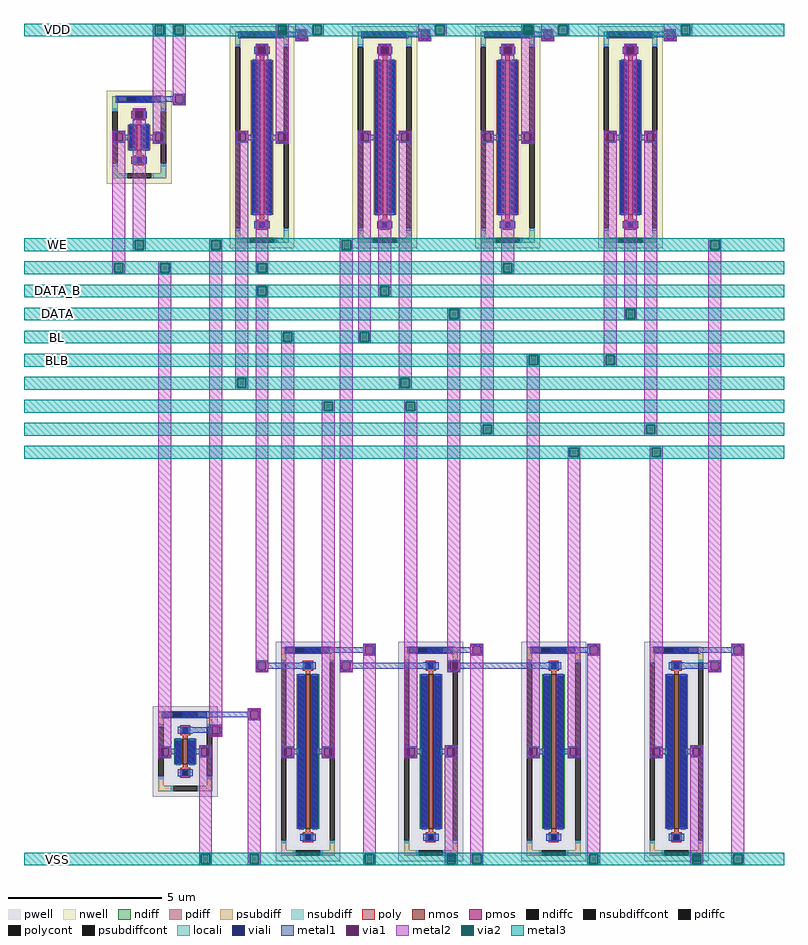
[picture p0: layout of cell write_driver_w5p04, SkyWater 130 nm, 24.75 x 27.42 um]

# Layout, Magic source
magic
tech sky130A
magscale 1 2
<< metal1 >>
rect 1324 -304 1396 -294
rect 1324 -312 1334 -304
rect 1080 -348 1334 -312
rect 1324 -356 1334 -348
rect 1386 -356 1396 -304
rect 2124 -304 2196 -294
rect 2124 -312 2134 -304
rect 1880 -348 2134 -312
rect 1324 -366 1396 -356
rect 2124 -356 2134 -348
rect 2186 -356 2196 -304
rect 2924 -304 2996 -294
rect 2924 -312 2934 -304
rect 2680 -348 2934 -312
rect 2124 -366 2196 -356
rect 2924 -356 2934 -348
rect 2986 -356 2996 -304
rect 3724 -304 3796 -294
rect 3724 -312 3734 -304
rect 3480 -348 3734 -312
rect 2924 -366 2996 -356
rect 3724 -356 3734 -348
rect 3786 -356 3796 -304
rect 3724 -366 3796 -356
rect 1064 -406 1136 -396
rect 1064 -458 1074 -406
rect 1126 -458 1136 -406
rect 1064 -468 1136 -458
rect 1864 -406 1936 -396
rect 1864 -458 1874 -406
rect 1926 -458 1936 -406
rect 1864 -468 1936 -458
rect 2664 -406 2736 -396
rect 2664 -458 2674 -406
rect 2726 -458 2736 -406
rect 2664 -468 2736 -458
rect 3464 -406 3536 -396
rect 3464 -458 3474 -406
rect 3526 -458 3536 -406
rect 3464 -468 3536 -458
rect 524 -724 596 -714
rect 524 -732 534 -724
rect 280 -768 534 -732
rect 524 -776 534 -768
rect 586 -776 596 -724
rect 524 -786 596 -776
rect 264 -826 336 -816
rect 264 -878 274 -826
rect 326 -878 336 -826
rect 264 -888 336 -878
rect 132 -974 204 -964
rect 132 -1026 142 -974
rect 194 -982 204 -974
rect 233 -982 279 -916
rect 194 -1018 279 -982
rect 194 -1026 204 -1018
rect 132 -1036 204 -1026
rect 233 -1084 279 -1018
rect 321 -982 367 -916
rect 396 -974 468 -964
rect 396 -982 406 -974
rect 321 -1018 406 -982
rect 321 -1084 367 -1018
rect 396 -1026 406 -1018
rect 458 -1026 468 -974
rect 396 -1036 468 -1026
rect 932 -974 1004 -964
rect 932 -1026 942 -974
rect 994 -982 1004 -974
rect 1033 -982 1079 -496
rect 994 -1018 1079 -982
rect 994 -1026 1004 -1018
rect 932 -1036 1004 -1026
rect 1033 -1504 1079 -1018
rect 1121 -982 1167 -496
rect 1196 -974 1268 -964
rect 1196 -982 1206 -974
rect 1121 -1018 1206 -982
rect 1121 -1504 1167 -1018
rect 1196 -1026 1206 -1018
rect 1258 -1026 1268 -974
rect 1196 -1036 1268 -1026
rect 1732 -974 1804 -964
rect 1732 -1026 1742 -974
rect 1794 -982 1804 -974
rect 1833 -982 1879 -496
rect 1794 -1018 1879 -982
rect 1794 -1026 1804 -1018
rect 1732 -1036 1804 -1026
rect 1833 -1504 1879 -1018
rect 1921 -982 1967 -496
rect 1996 -974 2068 -964
rect 1996 -982 2006 -974
rect 1921 -1018 2006 -982
rect 1921 -1504 1967 -1018
rect 1996 -1026 2006 -1018
rect 2058 -1026 2068 -974
rect 1996 -1036 2068 -1026
rect 2532 -974 2604 -964
rect 2532 -1026 2542 -974
rect 2594 -982 2604 -974
rect 2633 -982 2679 -496
rect 2594 -1018 2679 -982
rect 2594 -1026 2604 -1018
rect 2532 -1036 2604 -1026
rect 2633 -1504 2679 -1018
rect 2721 -982 2767 -496
rect 2796 -974 2868 -964
rect 2796 -982 2806 -974
rect 2721 -1018 2806 -982
rect 2721 -1504 2767 -1018
rect 2796 -1026 2806 -1018
rect 2858 -1026 2868 -974
rect 2796 -1036 2868 -1026
rect 3332 -974 3404 -964
rect 3332 -1026 3342 -974
rect 3394 -982 3404 -974
rect 3433 -982 3479 -496
rect 3394 -1018 3479 -982
rect 3394 -1026 3404 -1018
rect 3332 -1036 3404 -1026
rect 3433 -1504 3479 -1018
rect 3521 -982 3567 -496
rect 3596 -974 3668 -964
rect 3596 -982 3606 -974
rect 3521 -1018 3606 -982
rect 3521 -1504 3567 -1018
rect 3596 -1026 3606 -1018
rect 3658 -1026 3668 -974
rect 3596 -1036 3668 -1026
rect 1764 -4313 1836 -4303
rect 1764 -4321 1774 -4313
rect 1380 -4357 1774 -4321
rect 1764 -4365 1774 -4357
rect 1826 -4365 1836 -4313
rect 2464 -4313 2536 -4303
rect 2464 -4321 2474 -4313
rect 2180 -4357 2474 -4321
rect 1764 -4375 1836 -4365
rect 2464 -4365 2474 -4357
rect 2526 -4365 2536 -4313
rect 3224 -4313 3296 -4303
rect 3224 -4321 3234 -4313
rect 2980 -4357 3234 -4321
rect 2464 -4375 2536 -4365
rect 3224 -4365 3234 -4357
rect 3286 -4365 3296 -4313
rect 4164 -4313 4236 -4303
rect 4164 -4321 4174 -4313
rect 3780 -4357 4174 -4321
rect 3224 -4375 3296 -4365
rect 4164 -4365 4174 -4357
rect 4226 -4365 4236 -4313
rect 4164 -4375 4236 -4365
rect 1064 -4415 1136 -4405
rect 1064 -4467 1074 -4415
rect 1126 -4423 1136 -4415
rect 1614 -4415 1686 -4405
rect 1126 -4459 1420 -4423
rect 1126 -4467 1136 -4459
rect 1064 -4477 1136 -4467
rect 1614 -4467 1624 -4415
rect 1676 -4423 1686 -4415
rect 2314 -4415 2386 -4405
rect 1676 -4459 2220 -4423
rect 1676 -4467 1686 -4459
rect 1614 -4477 1686 -4467
rect 2314 -4467 2324 -4415
rect 2376 -4423 2386 -4415
rect 4014 -4415 4086 -4405
rect 4014 -4423 4024 -4415
rect 2376 -4459 3020 -4423
rect 3780 -4459 4024 -4423
rect 2376 -4467 2386 -4459
rect 2314 -4477 2386 -4467
rect 4014 -4467 4024 -4459
rect 4076 -4467 4086 -4415
rect 4014 -4477 4086 -4467
rect 1014 -4733 1086 -4723
rect 1014 -4741 1024 -4733
rect 580 -4777 1024 -4741
rect 1014 -4785 1024 -4777
rect 1076 -4785 1086 -4733
rect 1014 -4795 1086 -4785
rect 764 -4835 836 -4825
rect 764 -4843 774 -4835
rect 580 -4879 774 -4843
rect 764 -4887 774 -4879
rect 826 -4887 836 -4835
rect 764 -4897 836 -4887
rect 432 -4974 504 -4964
rect 432 -5026 442 -4974
rect 494 -4982 504 -4974
rect 533 -4982 579 -4916
rect 494 -5018 579 -4982
rect 494 -5026 504 -5018
rect 432 -5036 504 -5026
rect 533 -5084 579 -5018
rect 621 -4982 667 -4916
rect 696 -4974 768 -4964
rect 696 -4982 706 -4974
rect 621 -5018 706 -4982
rect 621 -5084 667 -5018
rect 696 -5026 706 -5018
rect 758 -5026 768 -4974
rect 696 -5036 768 -5026
rect 1232 -4974 1304 -4964
rect 1232 -5026 1242 -4974
rect 1294 -4982 1304 -4974
rect 1333 -4982 1379 -4496
rect 1294 -5018 1379 -4982
rect 1294 -5026 1304 -5018
rect 1232 -5036 1304 -5026
rect 1333 -5504 1379 -5018
rect 1421 -4982 1467 -4496
rect 1496 -4974 1568 -4964
rect 1496 -4982 1506 -4974
rect 1421 -5018 1506 -4982
rect 1421 -5504 1467 -5018
rect 1496 -5026 1506 -5018
rect 1558 -5026 1568 -4974
rect 1496 -5036 1568 -5026
rect 2032 -4974 2104 -4964
rect 2032 -5026 2042 -4974
rect 2094 -4982 2104 -4974
rect 2133 -4982 2179 -4496
rect 2094 -5018 2179 -4982
rect 2094 -5026 2104 -5018
rect 2032 -5036 2104 -5026
rect 2133 -5504 2179 -5018
rect 2221 -4982 2267 -4496
rect 2296 -4974 2368 -4964
rect 2296 -4982 2306 -4974
rect 2221 -5018 2306 -4982
rect 2221 -5504 2267 -5018
rect 2296 -5026 2306 -5018
rect 2358 -5026 2368 -4974
rect 2296 -5036 2368 -5026
rect 2832 -4974 2904 -4964
rect 2832 -5026 2842 -4974
rect 2894 -4982 2904 -4974
rect 2933 -4982 2979 -4496
rect 2894 -5018 2979 -4982
rect 2894 -5026 2904 -5018
rect 2832 -5036 2904 -5026
rect 2933 -5504 2979 -5018
rect 3021 -4982 3067 -4496
rect 3096 -4974 3168 -4964
rect 3096 -4982 3106 -4974
rect 3021 -5018 3106 -4982
rect 3021 -5504 3067 -5018
rect 3096 -5026 3106 -5018
rect 3158 -5026 3168 -4974
rect 3096 -5036 3168 -5026
rect 3632 -4974 3704 -4964
rect 3632 -5026 3642 -4974
rect 3694 -4982 3704 -4974
rect 3733 -4982 3779 -4496
rect 3694 -5018 3779 -4982
rect 3694 -5026 3704 -5018
rect 3632 -5036 3704 -5026
rect 3733 -5504 3779 -5018
rect 3821 -4982 3867 -4496
rect 3896 -4974 3968 -4964
rect 3896 -4982 3906 -4974
rect 3821 -5018 3906 -4982
rect 3821 -5504 3867 -5018
rect 3896 -5026 3906 -5018
rect 3958 -5026 3968 -4974
rect 3896 -5036 3968 -5026
<< via1 >>
rect 1334 -356 1386 -304
rect 2134 -356 2186 -304
rect 2934 -356 2986 -304
rect 3734 -356 3786 -304
rect 1074 -458 1126 -406
rect 1874 -458 1926 -406
rect 2674 -458 2726 -406
rect 3474 -458 3526 -406
rect 534 -776 586 -724
rect 274 -878 326 -826
rect 142 -1026 194 -974
rect 406 -1026 458 -974
rect 942 -1026 994 -974
rect 1206 -1026 1258 -974
rect 1742 -1026 1794 -974
rect 2006 -1026 2058 -974
rect 2542 -1026 2594 -974
rect 2806 -1026 2858 -974
rect 3342 -1026 3394 -974
rect 3606 -1026 3658 -974
rect 1774 -4365 1826 -4313
rect 2474 -4365 2526 -4313
rect 3234 -4365 3286 -4313
rect 4174 -4365 4226 -4313
rect 1074 -4467 1126 -4415
rect 1624 -4467 1676 -4415
rect 2324 -4467 2376 -4415
rect 4024 -4467 4076 -4415
rect 1024 -4785 1076 -4733
rect 774 -4887 826 -4835
rect 442 -5026 494 -4974
rect 706 -5026 758 -4974
rect 1242 -5026 1294 -4974
rect 1506 -5026 1558 -4974
rect 2042 -5026 2094 -4974
rect 2306 -5026 2358 -4974
rect 2842 -5026 2894 -4974
rect 3106 -5026 3158 -4974
rect 3642 -5026 3694 -4974
rect 3906 -5026 3958 -4974
<< metal2 >>
rect 390 -270 474 -258
rect 390 -330 402 -270
rect 462 -330 474 -270
rect 258 -826 342 -810
rect 258 -878 274 -826
rect 326 -878 342 -826
rect 126 -974 210 -958
rect 126 -1026 142 -974
rect 194 -1026 210 -974
rect 126 -1820 210 -1026
rect 258 -1670 342 -878
rect 390 -974 474 -330
rect 518 -270 602 -258
rect 518 -330 530 -270
rect 590 -330 602 -270
rect 518 -724 602 -330
rect 1190 -270 1274 -258
rect 1190 -330 1202 -270
rect 1262 -330 1274 -270
rect 518 -776 534 -724
rect 586 -776 602 -724
rect 518 -792 602 -776
rect 1058 -406 1142 -390
rect 1058 -458 1074 -406
rect 1126 -458 1142 -406
rect 390 -1026 406 -974
rect 458 -1026 474 -974
rect 390 -1042 474 -1026
rect 926 -974 1010 -958
rect 926 -1026 942 -974
rect 994 -1026 1010 -974
rect 258 -1730 270 -1670
rect 330 -1730 342 -1670
rect 258 -1742 342 -1730
rect 758 -1670 842 -1658
rect 758 -1730 770 -1670
rect 830 -1730 842 -1670
rect 126 -1880 138 -1820
rect 198 -1880 210 -1820
rect 126 -1892 210 -1880
rect 426 -1820 510 -1808
rect 426 -1880 438 -1820
rect 498 -1880 510 -1820
rect 426 -4974 510 -1880
rect 758 -4835 842 -1730
rect 926 -2570 1010 -1026
rect 1058 -1820 1142 -458
rect 1190 -974 1274 -330
rect 1318 -270 1502 -258
rect 1318 -304 1430 -270
rect 1318 -356 1334 -304
rect 1386 -330 1430 -304
rect 1490 -330 1502 -270
rect 1386 -342 1502 -330
rect 2118 -270 2302 -258
rect 2118 -304 2230 -270
rect 1386 -356 1402 -342
rect 1318 -372 1402 -356
rect 2118 -356 2134 -304
rect 2186 -330 2230 -304
rect 2290 -330 2302 -270
rect 2186 -342 2302 -330
rect 2790 -270 2874 -258
rect 2790 -330 2802 -270
rect 2862 -330 2874 -270
rect 2186 -356 2202 -342
rect 2118 -372 2202 -356
rect 1858 -406 1942 -390
rect 1858 -458 1874 -406
rect 1926 -458 1942 -406
rect 1190 -1026 1206 -974
rect 1258 -1026 1274 -974
rect 1190 -1042 1274 -1026
rect 1726 -974 1810 -958
rect 1726 -1026 1742 -974
rect 1794 -1026 1810 -974
rect 1058 -1880 1070 -1820
rect 1130 -1880 1142 -1820
rect 1058 -1892 1142 -1880
rect 1608 -1670 1692 -1658
rect 1608 -1730 1620 -1670
rect 1680 -1730 1692 -1670
rect 926 -2630 938 -2570
rect 998 -2630 1010 -2570
rect 926 -2642 1010 -2630
rect 1058 -1970 1142 -1958
rect 1058 -2030 1070 -1970
rect 1130 -2030 1142 -1970
rect 1058 -4415 1142 -2030
rect 1058 -4467 1074 -4415
rect 1126 -4467 1142 -4415
rect 1058 -4483 1142 -4467
rect 1226 -2270 1310 -2258
rect 1226 -2330 1238 -2270
rect 1298 -2330 1310 -2270
rect 758 -4887 774 -4835
rect 826 -4887 842 -4835
rect 758 -4903 842 -4887
rect 1008 -4733 1092 -4717
rect 1008 -4785 1024 -4733
rect 1076 -4785 1092 -4733
rect 426 -5026 442 -4974
rect 494 -5026 510 -4974
rect 426 -5042 510 -5026
rect 690 -4974 774 -4958
rect 690 -5026 706 -4974
rect 758 -5026 774 -4974
rect 690 -5670 774 -5026
rect 690 -5730 702 -5670
rect 762 -5730 774 -5670
rect 690 -5742 774 -5730
rect 1008 -5670 1092 -4785
rect 1226 -4974 1310 -2330
rect 1226 -5026 1242 -4974
rect 1294 -5026 1310 -4974
rect 1226 -5042 1310 -5026
rect 1490 -2720 1574 -2708
rect 1490 -2780 1502 -2720
rect 1562 -2780 1574 -2720
rect 1490 -4974 1574 -2780
rect 1608 -4415 1692 -1730
rect 1726 -2270 1810 -1026
rect 1858 -1970 1942 -458
rect 2658 -406 2742 -390
rect 2658 -458 2674 -406
rect 2726 -458 2742 -406
rect 1858 -2030 1870 -1970
rect 1930 -2030 1942 -1970
rect 1858 -2042 1942 -2030
rect 1990 -974 2074 -958
rect 1990 -1026 2006 -974
rect 2058 -1026 2074 -974
rect 1726 -2330 1738 -2270
rect 1798 -2330 1810 -2270
rect 1726 -2342 1810 -2330
rect 1990 -2570 2074 -1026
rect 2526 -974 2610 -958
rect 2526 -1026 2542 -974
rect 2594 -1026 2610 -974
rect 1990 -2630 2002 -2570
rect 2062 -2630 2074 -2570
rect 1990 -2642 2074 -2630
rect 2308 -2120 2392 -2108
rect 2308 -2180 2320 -2120
rect 2380 -2180 2392 -2120
rect 2026 -2720 2110 -2708
rect 2026 -2780 2038 -2720
rect 2098 -2780 2110 -2720
rect 1608 -4467 1624 -4415
rect 1676 -4467 1692 -4415
rect 1608 -4483 1692 -4467
rect 1758 -4313 1842 -4297
rect 1758 -4365 1774 -4313
rect 1826 -4365 1842 -4313
rect 1490 -5026 1506 -4974
rect 1558 -5026 1574 -4974
rect 1490 -5042 1574 -5026
rect 1008 -5730 1020 -5670
rect 1080 -5730 1092 -5670
rect 1008 -5742 1092 -5730
rect 1758 -5670 1842 -4365
rect 2026 -4974 2110 -2780
rect 2308 -4415 2392 -2180
rect 2526 -2870 2610 -1026
rect 2658 -1820 2742 -458
rect 2790 -974 2874 -330
rect 2918 -270 3102 -258
rect 2918 -304 3030 -270
rect 2918 -356 2934 -304
rect 2986 -330 3030 -304
rect 3090 -330 3102 -270
rect 2986 -342 3102 -330
rect 3718 -270 3902 -258
rect 3718 -304 3830 -270
rect 2986 -356 3002 -342
rect 2918 -372 3002 -356
rect 3718 -356 3734 -304
rect 3786 -330 3830 -304
rect 3890 -330 3902 -270
rect 3786 -342 3902 -330
rect 3786 -356 3802 -342
rect 3718 -372 3802 -356
rect 3458 -406 3542 -390
rect 3458 -458 3474 -406
rect 3526 -458 3542 -406
rect 2790 -1026 2806 -974
rect 2858 -1026 2874 -974
rect 2790 -1042 2874 -1026
rect 3326 -974 3410 -958
rect 3326 -1026 3342 -974
rect 3394 -1026 3410 -974
rect 2658 -1880 2670 -1820
rect 2730 -1880 2742 -1820
rect 2658 -1892 2742 -1880
rect 2526 -2930 2538 -2870
rect 2598 -2930 2610 -2870
rect 2526 -2942 2610 -2930
rect 2826 -2420 2910 -2408
rect 2826 -2480 2838 -2420
rect 2898 -2480 2910 -2420
rect 2308 -4467 2324 -4415
rect 2376 -4467 2392 -4415
rect 2308 -4483 2392 -4467
rect 2458 -4313 2542 -4297
rect 2458 -4365 2474 -4313
rect 2526 -4365 2542 -4313
rect 2026 -5026 2042 -4974
rect 2094 -5026 2110 -4974
rect 2026 -5042 2110 -5026
rect 2290 -4974 2374 -4958
rect 2290 -5026 2306 -4974
rect 2358 -5026 2374 -4974
rect 1758 -5730 1770 -5670
rect 1830 -5730 1842 -5670
rect 1758 -5742 1842 -5730
rect 2290 -5670 2374 -5026
rect 2290 -5730 2302 -5670
rect 2362 -5730 2374 -5670
rect 2290 -5742 2374 -5730
rect 2458 -5670 2542 -4365
rect 2826 -4974 2910 -2480
rect 3326 -2420 3410 -1026
rect 3458 -2120 3542 -458
rect 3458 -2180 3470 -2120
rect 3530 -2180 3542 -2120
rect 3458 -2192 3542 -2180
rect 3590 -974 3674 -958
rect 3590 -1026 3606 -974
rect 3658 -1026 3674 -974
rect 3326 -2480 3338 -2420
rect 3398 -2480 3410 -2420
rect 3326 -2492 3410 -2480
rect 3590 -2870 3674 -1026
rect 3590 -2930 3602 -2870
rect 3662 -2930 3674 -2870
rect 3590 -2942 3674 -2930
rect 4008 -1670 4092 -1658
rect 4008 -1730 4020 -1670
rect 4080 -1730 4092 -1670
rect 2826 -5026 2842 -4974
rect 2894 -5026 2910 -4974
rect 2826 -5042 2910 -5026
rect 3090 -3020 3174 -3008
rect 3090 -3080 3102 -3020
rect 3162 -3080 3174 -3020
rect 3090 -4974 3174 -3080
rect 3626 -3020 3710 -3008
rect 3626 -3080 3638 -3020
rect 3698 -3080 3710 -3020
rect 3090 -5026 3106 -4974
rect 3158 -5026 3174 -4974
rect 3090 -5042 3174 -5026
rect 3218 -4313 3302 -4297
rect 3218 -4365 3234 -4313
rect 3286 -4365 3302 -4313
rect 2458 -5730 2470 -5670
rect 2530 -5730 2542 -5670
rect 2458 -5742 2542 -5730
rect 3218 -5670 3302 -4365
rect 3626 -4974 3710 -3080
rect 4008 -4415 4092 -1730
rect 4008 -4467 4024 -4415
rect 4076 -4467 4092 -4415
rect 4008 -4483 4092 -4467
rect 4158 -4313 4242 -4297
rect 4158 -4365 4174 -4313
rect 4226 -4365 4242 -4313
rect 3626 -5026 3642 -4974
rect 3694 -5026 3710 -4974
rect 3626 -5042 3710 -5026
rect 3890 -4974 3974 -4958
rect 3890 -5026 3906 -4974
rect 3958 -5026 3974 -4974
rect 3218 -5730 3230 -5670
rect 3290 -5730 3302 -5670
rect 3218 -5742 3302 -5730
rect 3890 -5670 3974 -5026
rect 3890 -5730 3902 -5670
rect 3962 -5730 3974 -5670
rect 3890 -5742 3974 -5730
rect 4158 -5670 4242 -4365
rect 4158 -5730 4170 -5670
rect 4230 -5730 4242 -5670
rect 4158 -5742 4242 -5730
<< via2 >>
rect 402 -330 462 -270
rect 530 -330 590 -270
rect 1202 -330 1262 -270
rect 270 -1730 330 -1670
rect 770 -1730 830 -1670
rect 138 -1880 198 -1820
rect 438 -1880 498 -1820
rect 1430 -330 1490 -270
rect 2230 -330 2290 -270
rect 2802 -330 2862 -270
rect 1070 -1880 1130 -1820
rect 1620 -1730 1680 -1670
rect 938 -2630 998 -2570
rect 1070 -2030 1130 -1970
rect 1238 -2330 1298 -2270
rect 702 -5730 762 -5670
rect 1502 -2780 1562 -2720
rect 1870 -2030 1930 -1970
rect 1738 -2330 1798 -2270
rect 2002 -2630 2062 -2570
rect 2320 -2180 2380 -2120
rect 2038 -2780 2098 -2720
rect 1020 -5730 1080 -5670
rect 3030 -330 3090 -270
rect 3830 -330 3890 -270
rect 2670 -1880 2730 -1820
rect 2538 -2930 2598 -2870
rect 2838 -2480 2898 -2420
rect 1770 -5730 1830 -5670
rect 2302 -5730 2362 -5670
rect 3470 -2180 3530 -2120
rect 3338 -2480 3398 -2420
rect 3602 -2930 3662 -2870
rect 4020 -1730 4080 -1670
rect 3102 -3080 3162 -3020
rect 3638 -3080 3698 -3020
rect 2470 -5730 2530 -5670
rect 3230 -5730 3290 -5670
rect 3902 -5730 3962 -5670
rect 4170 -5730 4230 -5670
<< metal3 >>
rect -450 -270 4500 -258
rect -450 -330 402 -270
rect 462 -330 530 -270
rect 590 -330 1202 -270
rect 1262 -330 1430 -270
rect 1490 -330 2230 -270
rect 2290 -330 2802 -270
rect 2862 -330 3030 -270
rect 3090 -330 3830 -270
rect 3890 -330 4500 -270
rect -450 -342 4500 -330
rect -450 -1670 4500 -1658
rect -450 -1730 270 -1670
rect 330 -1730 770 -1670
rect 830 -1730 1620 -1670
rect 1680 -1730 4020 -1670
rect 4080 -1730 4500 -1670
rect -450 -1742 4500 -1730
rect -450 -1820 4500 -1808
rect -450 -1880 138 -1820
rect 198 -1880 438 -1820
rect 498 -1880 1070 -1820
rect 1130 -1880 2670 -1820
rect 2730 -1880 4500 -1820
rect -450 -1892 4500 -1880
rect -450 -1970 4500 -1958
rect -450 -2030 1070 -1970
rect 1130 -2030 1870 -1970
rect 1930 -2030 4500 -1970
rect -450 -2042 4500 -2030
rect -450 -2120 4500 -2108
rect -450 -2180 2320 -2120
rect 2380 -2180 3470 -2120
rect 3530 -2180 4500 -2120
rect -450 -2192 4500 -2180
rect -450 -2270 4500 -2258
rect -450 -2330 1238 -2270
rect 1298 -2330 1738 -2270
rect 1798 -2330 4500 -2270
rect -450 -2342 4500 -2330
rect -450 -2420 4500 -2408
rect -450 -2480 2838 -2420
rect 2898 -2480 3338 -2420
rect 3398 -2480 4500 -2420
rect -450 -2492 4500 -2480
rect -450 -2570 4500 -2558
rect -450 -2630 938 -2570
rect 998 -2630 2002 -2570
rect 2062 -2630 4500 -2570
rect -450 -2642 4500 -2630
rect -450 -2720 4500 -2708
rect -450 -2780 1502 -2720
rect 1562 -2780 2038 -2720
rect 2098 -2780 4500 -2720
rect -450 -2792 4500 -2780
rect -450 -2870 4500 -2858
rect -450 -2930 2538 -2870
rect 2598 -2930 3602 -2870
rect 3662 -2930 4500 -2870
rect -450 -2942 4500 -2930
rect -450 -3020 4500 -3008
rect -450 -3080 3102 -3020
rect 3162 -3080 3638 -3020
rect 3698 -3080 4500 -3020
rect -450 -3092 4500 -3080
rect -450 -5670 4500 -5658
rect -450 -5730 702 -5670
rect 762 -5730 1020 -5670
rect 1080 -5730 1770 -5670
rect 1830 -5730 2302 -5670
rect 2362 -5730 2470 -5670
rect 2530 -5730 3230 -5670
rect 3290 -5730 3902 -5670
rect 3962 -5730 4170 -5670
rect 4230 -5730 4500 -5670
rect -450 -5742 4500 -5730
use sky130_fd_pr__nfet_01v8_NB6F4D  XMNDBLB
transform 1 0 3000 0 1 -5000
box -211 -714 211 714
use sky130_fd_pr__nfet_01v8_NB6F4D  XMNDBL
transform 1 0 1400 0 1 -5000
box -211 -714 211 714
use sky130_fd_pr__nfet_01v8_NB6F4D  XMNENBLB
transform 1 0 3800 0 1 -5000
box -211 -714 211 714
use sky130_fd_pr__nfet_01v8_NB6F4D  XMNENBL
transform 1 0 2200 0 1 -5000
box -211 -714 211 714
use sky130_fd_pr__nfet_01v8_68595V  XMNWEB
transform 1 0 600 0 1 -5000
box -211 -294 211 294
use sky130_fd_pr__pfet_01v8_JKZ84H  XMPDBLB
transform 1 0 3500 0 1 -1000
box -211 -723 211 723
use sky130_fd_pr__pfet_01v8_JKZ84H  XMPDBL
transform 1 0 1900 0 1 -1000
box -211 -723 211 723
use sky130_fd_pr__pfet_01v8_JKZ84H  XMPENBLB
transform 1 0 2700 0 1 -1000
box -211 -723 211 723
use sky130_fd_pr__pfet_01v8_JKZ84H  XMPENBL
transform 1 0 1100 0 1 -1000
box -211 -723 211 723
use sky130_fd_pr__pfet_01v8_EXZWSX  XMPWEB
transform 1 0 300 0 1 -1000
box -211 -303 211 303
<< labels >>
rlabel metal3 -255 -2175 -205 -2125 0 DATA
port 0 n
rlabel metal3 -255 -2025 -205 -1975 0 DATA_B
port 1 n
rlabel metal3 -255 -1725 -205 -1675 0 WE
port 2 n
rlabel metal3 -255 -2325 -205 -2275 0 BL
port 3 n
rlabel metal3 -255 -2475 -205 -2425 0 BLB
port 4 n
rlabel metal3 -255 -325 -205 -275 0 VDD
port 5 n
rlabel metal3 -255 -5725 -205 -5675 0 VSS
port 6 n
<< end >>

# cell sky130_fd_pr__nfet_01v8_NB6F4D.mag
magic
tech sky130A
magscale 1 2
<< pwell >>
rect -211 -714 211 714
<< nmos >>
rect -15 -504 15 504
<< ndiff >>
rect -73 492 -15 504
rect -73 -492 -61 492
rect -27 -492 -15 492
rect -73 -504 -15 -492
rect 15 492 73 504
rect 15 -492 27 492
rect 61 -492 73 492
rect 15 -504 73 -492
<< ndiffc >>
rect -61 -492 -27 492
rect 27 -492 61 492
<< psubdiff >>
rect -175 644 -79 678
rect 79 644 175 678
rect -175 582 -141 644
rect 141 582 175 644
rect -175 -644 -141 -582
rect 141 -644 175 -582
rect -175 -678 -79 -644
rect 79 -678 175 -644
<< psubdiffcont >>
rect -79 644 79 678
rect -175 -582 -141 582
rect 141 -582 175 582
rect -79 -678 79 -644
<< poly >>
rect -33 576 33 592
rect -33 542 -17 576
rect 17 542 33 576
rect -33 526 33 542
rect -15 504 15 526
rect -15 -526 15 -504
rect -33 -542 33 -526
rect -33 -576 -17 -542
rect 17 -576 33 -542
rect -33 -592 33 -576
<< polycont >>
rect -17 542 17 576
rect -17 -576 17 -542
<< locali >>
rect -175 582 -141 598
rect 141 582 175 598
rect -33 542 -17 576
rect 17 542 33 576
rect -61 492 -27 508
rect -61 -508 -27 -492
rect 27 492 61 508
rect 27 -508 61 -492
rect -33 -576 -17 -542
rect 17 -576 33 -542
rect -175 -598 -141 -582
rect 141 -598 175 -582
rect -95 -678 -79 -644
rect 79 -678 95 -644
<< viali >>
rect -141 644 -79 678
rect -79 644 79 678
rect 79 644 141 678
rect -17 542 17 576
rect -61 -492 -27 492
rect 27 -492 61 492
rect -17 -576 17 -542
<< metal1 >>
rect -153 678 153 684
rect -153 644 -141 678
rect 141 644 153 678
rect -153 638 153 644
rect -50 576 50 582
rect -50 542 -17 576
rect 17 542 50 576
rect -50 536 50 542
rect -67 492 -21 504
rect -67 -492 -61 492
rect -27 -492 -21 492
rect -67 -504 -21 -492
rect 21 492 67 504
rect 21 -492 27 492
rect 61 -492 67 492
rect 21 -504 67 -492
rect -50 -542 50 -536
rect -50 -576 -17 -542
rect 17 -576 50 -542
rect -50 -582 50 -576
<< properties >>
string FIXED_BBOX -158 -661 158 661
string library sky130
string parameters w 5.04 l 0.15 m 1 nf 1 diffcov 100 polycov 100 guard 1 glc 1 grc 1 gtc 1 gbc 1 tbcov 100 rlcov 100 topc 1 botc 1 poverlap 0 doverlap 1 lmin 0.15 wmin 0.42 class mosfet compatible {sky130_fd_pr__nfet_01v8 sky130_fd_pr__nfet_01v8_lvt  sky130_fd_bs_flash__special_sonosfet_star  sky130_fd_pr__nfet_g5v0d10v5 sky130_fd_pr__nfet_05v0_nvt  sky130_fd_pr__nfet_03v3_nvt} full_metal 0 viasrc 100 viadrn 100 viagate 100 viagb 0 viagr 0 viagl 0 viagt 100
<< end >>

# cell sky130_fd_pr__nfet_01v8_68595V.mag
magic
tech sky130A
magscale 1 2
<< pwell >>
rect -211 -294 211 294
<< nmos >>
rect -15 -84 15 84
<< ndiff >>
rect -73 72 -15 84
rect -73 -72 -61 72
rect -27 -72 -15 72
rect -73 -84 -15 -72
rect 15 72 73 84
rect 15 -72 27 72
rect 61 -72 73 72
rect 15 -84 73 -72
<< ndiffc >>
rect -61 -72 -27 72
rect 27 -72 61 72
<< psubdiff >>
rect -175 224 -79 258
rect 79 224 175 258
rect -175 162 -141 224
rect 141 162 175 224
rect -175 -224 -141 -162
rect 141 -224 175 -162
rect -175 -258 -79 -224
rect 79 -258 175 -224
<< psubdiffcont >>
rect -79 224 79 258
rect -175 -162 -141 162
rect 141 -162 175 162
rect -79 -258 79 -224
<< poly >>
rect -33 156 33 172
rect -33 122 -17 156
rect 17 122 33 156
rect -33 106 33 122
rect -15 84 15 106
rect -15 -106 15 -84
rect -33 -122 33 -106
rect -33 -156 -17 -122
rect 17 -156 33 -122
rect -33 -172 33 -156
<< polycont >>
rect -17 122 17 156
rect -17 -156 17 -122
<< locali >>
rect -175 162 -141 178
rect 141 162 175 178
rect -33 122 -17 156
rect 17 122 33 156
rect -61 72 -27 88
rect -61 -88 -27 -72
rect 27 72 61 88
rect 27 -88 61 -72
rect -33 -156 -17 -122
rect 17 -156 33 -122
rect -175 -178 -141 -162
rect 141 -178 175 -162
rect -95 -258 -79 -224
rect 79 -258 95 -224
<< viali >>
rect -141 224 -79 258
rect -79 224 79 258
rect 79 224 141 258
rect -17 122 17 156
rect -61 -72 -27 72
rect 27 -72 61 72
rect -17 -156 17 -122
<< metal1 >>
rect -153 258 153 264
rect -153 224 -141 258
rect 141 224 153 258
rect -153 218 153 224
rect -50 156 50 162
rect -50 122 -17 156
rect 17 122 50 156
rect -50 116 50 122
rect -67 72 -21 84
rect -67 -72 -61 72
rect -27 -72 -21 72
rect -67 -84 -21 -72
rect 21 72 67 84
rect 21 -72 27 72
rect 61 -72 67 72
rect 21 -84 67 -72
rect -50 -122 50 -116
rect -50 -156 -17 -122
rect 17 -156 50 -122
rect -50 -162 50 -156
<< properties >>
string FIXED_BBOX -158 -241 158 241
string library sky130
string parameters w 0.84 l 0.15 m 1 nf 1 diffcov 100 polycov 100 guard 1 glc 1 grc 1 gtc 1 gbc 1 tbcov 100 rlcov 100 topc 1 botc 1 poverlap 0 doverlap 1 lmin 0.15 wmin 0.42 class mosfet compatible {sky130_fd_pr__nfet_01v8 sky130_fd_pr__nfet_01v8_lvt  sky130_fd_bs_flash__special_sonosfet_star  sky130_fd_pr__nfet_g5v0d10v5 sky130_fd_pr__nfet_05v0_nvt  sky130_fd_pr__nfet_03v3_nvt} full_metal 0 viasrc 100 viadrn 100 viagate 100 viagb 0 viagr 0 viagl 0 viagt 100
<< end >>

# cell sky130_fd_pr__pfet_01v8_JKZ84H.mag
magic
tech sky130A
magscale 1 2
<< nwell >>
rect -211 -723 211 723
<< pmos >>
rect -15 -504 15 504
<< pdiff >>
rect -73 492 -15 504
rect -73 -492 -61 492
rect -27 -492 -15 492
rect -73 -504 -15 -492
rect 15 492 73 504
rect 15 -492 27 492
rect 61 -492 73 492
rect 15 -504 73 -492
<< pdiffc >>
rect -61 -492 -27 492
rect 27 -492 61 492
<< nsubdiff >>
rect -175 653 -79 687
rect 79 653 175 687
rect -175 591 -141 653
rect 141 591 175 653
rect -175 -653 -141 -591
rect 141 -653 175 -591
rect -175 -687 -79 -653
rect 79 -687 175 -653
<< nsubdiffcont >>
rect -79 653 79 687
rect -175 -591 -141 591
rect 141 -591 175 591
rect -79 -687 79 -653
<< poly >>
rect -33 585 33 601
rect -33 551 -17 585
rect 17 551 33 585
rect -33 535 33 551
rect -15 504 15 535
rect -15 -535 15 -504
rect -33 -551 33 -535
rect -33 -585 -17 -551
rect 17 -585 33 -551
rect -33 -601 33 -585
<< polycont >>
rect -17 551 17 585
rect -17 -585 17 -551
<< locali >>
rect -175 591 -141 607
rect 141 591 175 607
rect -33 551 -17 585
rect 17 551 33 585
rect -61 492 -27 508
rect -61 -508 -27 -492
rect 27 492 61 508
rect 27 -508 61 -492
rect -33 -585 -17 -551
rect 17 -585 33 -551
rect -175 -607 -141 -591
rect 141 -607 175 -591
rect -95 -687 -79 -653
rect 79 -687 95 -653
<< viali >>
rect -141 653 -79 687
rect -79 653 79 687
rect 79 653 141 687
rect -17 551 17 585
rect -61 -492 -27 492
rect 27 -492 61 492
rect -17 -585 17 -551
<< metal1 >>
rect -153 687 153 693
rect -153 653 -141 687
rect 141 653 153 687
rect -153 647 153 653
rect -50 585 50 591
rect -50 551 -17 585
rect 17 551 50 585
rect -50 545 50 551
rect -67 492 -21 504
rect -67 -492 -61 492
rect -27 -492 -21 492
rect -67 -504 -21 -492
rect 21 492 67 504
rect 21 -492 27 492
rect 61 -492 67 492
rect 21 -504 67 -492
rect -50 -551 50 -545
rect -50 -585 -17 -551
rect 17 -585 50 -551
rect -50 -591 50 -585
<< properties >>
string FIXED_BBOX -158 -670 158 670
string library sky130
string parameters w 5.04 l 0.15 m 1 nf 1 diffcov 100 polycov 100 guard 1 glc 1 grc 1 gtc 1 gbc 1 tbcov 100 rlcov 100 topc 1 botc 1 poverlap 0 doverlap 1 lmin 0.15 wmin 0.42 class mosfet compatible {sky130_fd_pr__pfet_01v8  sky130_fd_pr__pfet_01v8_lvt sky130_fd_pr__pfet_01v8_hvt  sky130_fd_pr__pfet_g5v0d10v5} full_metal 0 viasrc 100 viadrn 100 viagate 100 viagb 0 viagr 0 viagl 0 viagt 100
<< end >>

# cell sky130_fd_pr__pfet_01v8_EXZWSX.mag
magic
tech sky130A
magscale 1 2
<< nwell >>
rect -211 -303 211 303
<< pmos >>
rect -15 -84 15 84
<< pdiff >>
rect -73 72 -15 84
rect -73 -72 -61 72
rect -27 -72 -15 72
rect -73 -84 -15 -72
rect 15 72 73 84
rect 15 -72 27 72
rect 61 -72 73 72
rect 15 -84 73 -72
<< pdiffc >>
rect -61 -72 -27 72
rect 27 -72 61 72
<< nsubdiff >>
rect -175 233 -79 267
rect 79 233 175 267
rect -175 171 -141 233
rect 141 171 175 233
rect -175 -233 -141 -171
rect 141 -233 175 -171
rect -175 -267 -79 -233
rect 79 -267 175 -233
<< nsubdiffcont >>
rect -79 233 79 267
rect -175 -171 -141 171
rect 141 -171 175 171
rect -79 -267 79 -233
<< poly >>
rect -33 165 33 181
rect -33 131 -17 165
rect 17 131 33 165
rect -33 115 33 131
rect -15 84 15 115
rect -15 -115 15 -84
rect -33 -131 33 -115
rect -33 -165 -17 -131
rect 17 -165 33 -131
rect -33 -181 33 -165
<< polycont >>
rect -17 131 17 165
rect -17 -165 17 -131
<< locali >>
rect -175 171 -141 187
rect 141 171 175 187
rect -33 131 -17 165
rect 17 131 33 165
rect -61 72 -27 88
rect -61 -88 -27 -72
rect 27 72 61 88
rect 27 -88 61 -72
rect -33 -165 -17 -131
rect 17 -165 33 -131
rect -175 -187 -141 -171
rect 141 -187 175 -171
rect -95 -267 -79 -233
rect 79 -267 95 -233
<< viali >>
rect -141 233 -79 267
rect -79 233 79 267
rect 79 233 141 267
rect -17 131 17 165
rect -61 -72 -27 72
rect 27 -72 61 72
rect -17 -165 17 -131
<< metal1 >>
rect -153 267 153 273
rect -153 233 -141 267
rect 141 233 153 267
rect -153 227 153 233
rect -50 165 50 171
rect -50 131 -17 165
rect 17 131 50 165
rect -50 125 50 131
rect -67 72 -21 84
rect -67 -72 -61 72
rect -27 -72 -21 72
rect -67 -84 -21 -72
rect 21 72 67 84
rect 21 -72 27 72
rect 61 -72 67 72
rect 21 -84 67 -72
rect -50 -131 50 -125
rect -50 -165 -17 -131
rect 17 -165 50 -131
rect -50 -171 50 -165
<< properties >>
string FIXED_BBOX -158 -250 158 250
string library sky130
string parameters w 0.84 l 0.15 m 1 nf 1 diffcov 100 polycov 100 guard 1 glc 1 grc 1 gtc 1 gbc 1 tbcov 100 rlcov 100 topc 1 botc 1 poverlap 0 doverlap 1 lmin 0.15 wmin 0.42 class mosfet compatible {sky130_fd_pr__pfet_01v8  sky130_fd_pr__pfet_01v8_lvt sky130_fd_pr__pfet_01v8_hvt  sky130_fd_pr__pfet_g5v0d10v5} full_metal 0 viasrc 100 viadrn 100 viagate 100 viagb 0 viagr 0 viagl 0 viagt 100
<< end >>
